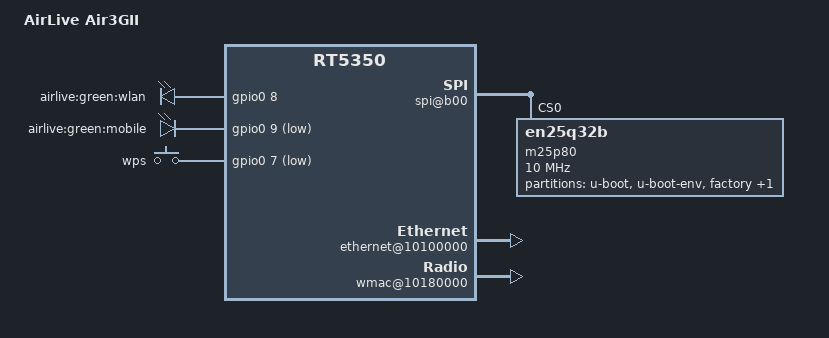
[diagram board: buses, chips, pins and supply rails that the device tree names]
/dts-v1/;

/include/ "rt5350.dtsi"

/ {
	compatible = "AIR3GII", "ralink,rt5350-soc";
	model = "AirLive Air3GII";

	palmbus@10000000 {
		sysc@0 {
			ralink,pinmux = "i2c", "spi", "uartlite", "jtag", "mdio", "sdram", "rgmii";
			ralink,uartmux = "gpio";
			ralink,wdtmux = <1>;
		};

		gpio0: gpio@600 {
			status = "okay";
		};

		spi@b00 {
			status = "okay";
			m25p80@0 {
				#address-cells = <1>;
				#size-cells = <1>;
				compatible = "en25q32b";
				reg = <0 0>;
				linux,modalias = "m25p80", "en25q32b";
				spi-max-frequency = <10000000>;

				partition@0 {
					label = "u-boot";
					reg = <0x0 0x30000>;
					read-only;
				};

				partition@30000 {
					label = "u-boot-env";
					reg = <0x30000 0x10000>;
					read-only;
				};

				factory: partition@40000 {
					label = "factory";
					reg = <0x40000 0x10000>;
					read-only;
				};

				partition@50000 {
					label = "firmware";
					reg = <0x50000 0x3b0000>;
				};
			};
		};
	};

	ethernet@10100000 {
		status = "okay";
	};

	esw@10110000 {
		status = "okay";
		ralink,portmap = <0x2f>;
	};

	gpio-leds {
		compatible = "gpio-leds";
		wlan {
			label = "airlive:green:wlan";
			gpios = <&gpio0 8 0>;
		};
		mobile {
			label = "airlive:green:mobile";
			gpios = <&gpio0 9 1>;
		};
	};

	gpio-keys-polled {
		compatible = "gpio-keys-polled";
		#address-cells = <1>;
		#size-cells = <0>;
		poll-interval = <20>;
		wps {
			label = "wps";
			gpios = <&gpio0 7 1>;
			linux,code = <0x211>;
		};
	};

	wmac@10180000 {
		status = "okay";
	};
};
